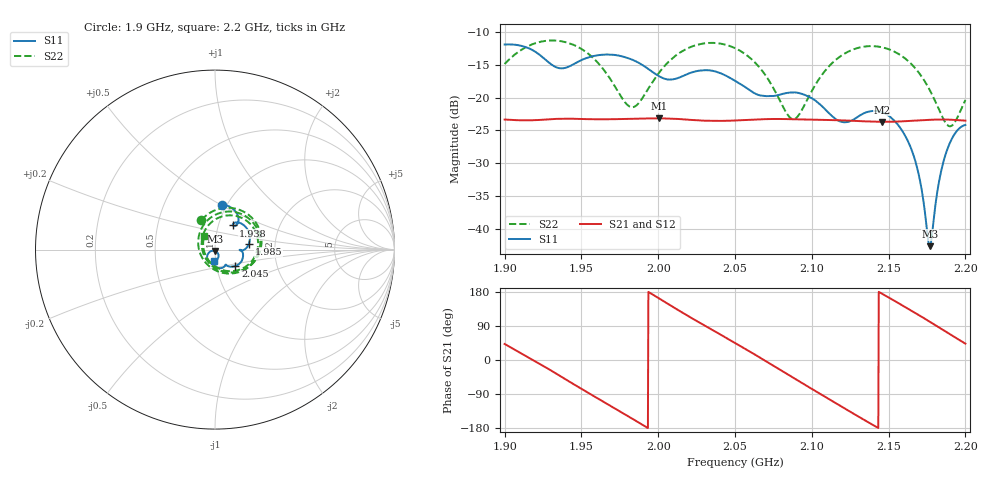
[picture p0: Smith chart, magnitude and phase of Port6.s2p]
# Hz S RI R 50
! CMT, CMT808U, 21440046, 21.4.3/4
! Date: 3/28/2026 4:59:17 PM
! Data: Format (Calibration Info)
! Freq	S11:Re/Im(F2)	S41:Re/Im(F2)	S14:Re/Im(F2)	S44:Re/Im(F2)
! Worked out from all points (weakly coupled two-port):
!   1001 points, 1.9 GHz to 2.2 GHz, reference 50 ohm
!   highest |S21| = -23.16 dB at 2.001 GHz (marker M1); lowest = -23.7 dB at 2.146 GHz (marker M2)
!   lowest |S11| = -42.7 dB at 2.177 GHz (marker M3), VSWR 1.01, Z = 49.8 - j0.717 ohm
!   |S11| at or under -10 dB: start of sweep to end of sweep
!   |S22| runs from -24.4 to -11.3 dB; largest |S21 - S12| = 0.00049
!   S11 on the Smith chart (normalised r, x): 1.9 GHz: 0.95, +0.51; 1.938 GHz: 1.17, +0.32; 1.985 GHz: 1.46, +0.09; 2.045 GHz: 1.23, -0.23; 2.2 GHz: 0.98, -0.12
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1.9e9  0.0397 0.2509  0.0503 0.0458  0.0499 0.046  -0.0755 0.1638
1.918e9  0.1254 0.1939  0.0671 0.00116  0.0671 0.00148  0.1135 0.2284
1.9384e9  0.1001 0.1345  0.0465 -0.0511  0.0466 -0.0508  0.258 0.0686
1.9501e9  0.1198 0.1519  0.0163 -0.0667  0.0166 -0.0665  0.2282 -0.055
1.9672e9  0.1803 0.1136  -0.0309 -0.061  -0.0306 -0.061  0.0646 -0.133
1.9846e9  0.1885 0.0312  -0.0641 -0.0253  -0.0639 -0.0255  -0.0823 -0.0223
2.0002e9  0.1463 -0.00558  -0.0666 0.0198  -0.0665 0.0195  -0.0616 0.14
2.0008e9  0.145 -0.00555  -0.0661 0.0216  -0.066 0.0212  -0.0577 0.1452
2.0206e9  0.1532 -0.014  -0.0268 0.0621  -0.0271 0.0619  0.1286 0.2049
2.0446e9  0.1135 -0.0918  0.0355 0.0563  0.0351 0.0564  0.2511 0.0189
2.05e9  0.0947 -0.0953  0.0472 0.0474  0.0468 0.0476  0.2363 -0.0327
2.0686e9  0.0609 -0.0831  0.0684 0.000611  0.0683 0.000948  0.0876 -0.128
2.0866e9  0.0457 -0.0995  0.0494 -0.0473  0.0496 -0.047  -0.0586 -0.0369
2.1001e9  0.00862 -0.0983  0.0159 -0.066  0.0162 -0.0658  -0.062 0.0943
2.1199e9  -0.00242 -0.065  -0.0377 -0.0554  -0.0373 -0.0555  0.0911 0.1908
2.1457e9  -0.0315 -0.0709  -0.0651 0.00575  -0.0651 0.00542  0.2401 0.0305
2.1502e9  -0.0399 -0.0606  -0.0631 0.0173  -0.0631 0.017  0.2334 -0.0108
2.1661e9  -0.0332 -0.0158  -0.0403 0.0531  -0.0406 0.0528  0.1318 -0.1134
2.1769e9  -0.00156 -0.00719  -0.0128 0.0665  -0.0131 0.0664  0.0299 -0.1096
2.1868e9  0.0197 -0.03  0.0164 0.066  0.0161 0.066  -0.0429 -0.0489
2.1919e9  0.017 -0.0473  0.0306 0.0604  0.0302 0.0605  -0.062 -0.00318
2.2e9  -0.00666 -0.0615  0.0487 0.0456  0.0484 0.0458  -0.0602 0.0747
